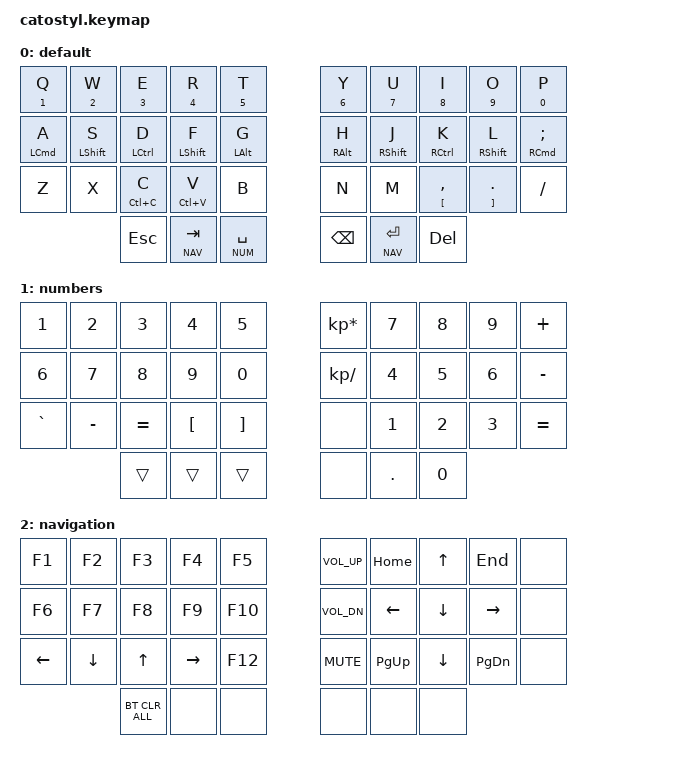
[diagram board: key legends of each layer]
#include <input/processors.dtsi>
#include <behaviors.dtsi>
#include <dt-bindings/zmk/bt.h>
#include <dt-bindings/zmk/keys.h>

// Layer aliases

#define DEF 0
#define NUM 1
#define NAV 2

&mt {
    tapping-term-ms = <180>;
    flavor = "tap-preferred";
};

/ {
//    behaviors {
//        tb_pim447: trackball_pimoroni_pim447 {
//            compatible = "zmk,behavior-pim447";
//            #binding-cells = <1>;
//        };
//    };

    combos {
        compatible = "zmk,combos";

        cb_grave {
            bindings = <&kp GRAVE>;
            key-positions = <1 2>;
        };

        cb_minus {
            bindings = <&kp MINUS>;
            key-positions = <12 13>;
        };

        cb_equal {
            bindings = <&kp EQUAL>;
            key-positions = <16 17>;
        };

        cb_caps {
            bindings = <&kp CAPS>;
            key-positions = <20 21>;
        };

        cb_quotes {
            bindings = <&kp APOS>;
            key-positions = <27 28>;
        };

        cb_backslash {
            bindings = <&kp BSLH>;
            key-positions = <28 29>;
        };

        cb_to_nav {
            bindings = <&tog 2>;
            key-positions = <32 33>;
        };
    };

    keymap {
        compatible = "zmk,keymap";

        default {
            bindings = <
&mt N1 Q    &mt N2 W     &mt N3 E     &mt N4 R     &mt N5 T       &mt N6 Y    &mt N7 U     &mt N8 I        &mt N9 O      &mt N0 P
&mt LCMD A  &mt LSHFT S  &mt LCTRL D  &mt LSHFT F  &mt LALT G     &mt RALT H  &mt RSHFT J  &mt RCTRL K     &mt RSHFT L   &mt RCMD SEMI
&kp Z       &kp X        &mt LC(C) C  &mt LC(V) V  &kp B          &kp N       &kp M        &mt LBKT COMMA  &mt RBKT DOT  &kp FSLH
                         &kp ESC      &lt NAV TAB  &lt NUM SPACE  &kp BSPC    &lt NAV RET  &kp DEL
            >;
        };

        numbers {
            bindings = <
&kp N1     &kp N2     &kp N3     &kp N4    &kp N5    &kp KP_MULTIPLY  &kp N7   &kp N8  &kp N9  &kp PLUS
&kp N6     &kp N7     &kp N8     &kp N9    &kp N0    &kp KP_DIVIDE    &kp N4   &kp N5  &kp N6  &kp MINUS
&kp GRAVE  &kp MINUS  &kp EQUAL  &kp LBKT  &kp RBKT  &none            &kp N1   &kp N2  &kp N3  &kp EQUAL
                      &trans     &trans    &trans    &none            &kp DOT  &kp N0
            >;
        };

        navigation {
            bindings = <
&kp F1    &kp F2    &kp F3          &kp F4     &kp F5   &kp C_VOL_UP  &kp HOME   &kp UP    &kp END    &none
&kp F6    &kp F7    &kp F8          &kp F9     &kp F10  &kp C_VOL_DN  &kp LEFT   &kp DOWN  &kp RIGHT  &none
&kp LEFT  &kp DOWN  &kp UP          &kp RIGHT  &kp F12  &kp C_MUTE    &kp PG_UP  &kp DOWN  &kp PG_DN  &none
                    &bt BT_CLR_ALL  &none      &none    &none         &none      &none
            >;
        };
    };
};
